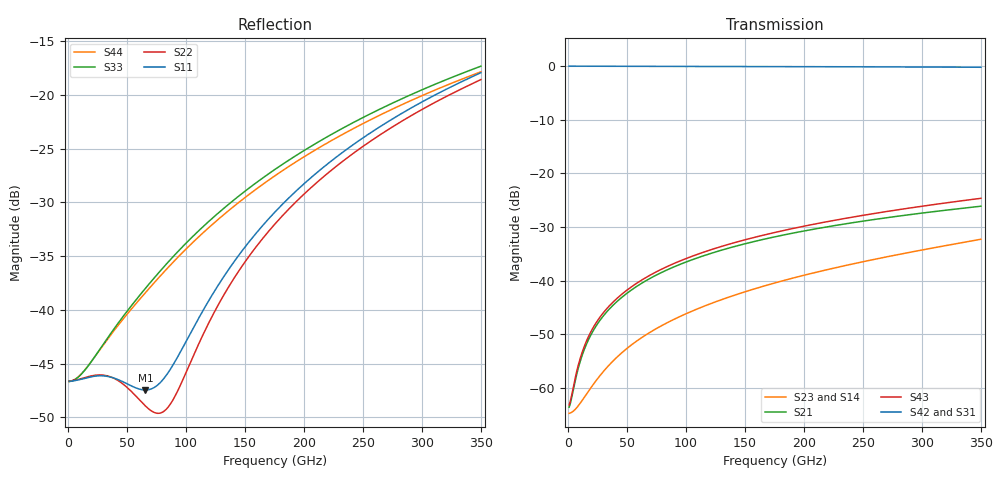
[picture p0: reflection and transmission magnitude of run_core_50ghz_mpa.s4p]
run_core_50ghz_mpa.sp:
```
* EQUIVALENT CIRCUIT FOR VECTOR FITTED S-MATRIX
* Created using scikit-rf vectorFitting.py
*
.SUBCKT s_equivalent_0 p1 p2 p3 p4
*
* Port network for port 1
V1 p1 s1 0
R1 s1 0 50.0
Gd1_1 0 s1 p1 0 2.893139271665703e-06
Fd1_1 0 s1 V1 0.00014465696358328516
Gr1_1_1 0 s1 x1_a1 0 4912147948453.049
Gr2_re_1_1 0 s1 x2_re_a1 0 -1319268556079.9465
Gr2_im_1_1 0 s1 x2_im_a1 0 1735174622789.5796
Gr3_1_1 0 s1 x3_a1 0 -80979426.93577664
Gr4_1_1 0 s1 x4_a1 0 -3817759930.7041607
Gd1_2 0 s1 p2 0 -8.407909559144355e-07
Fd1_2 0 s1 V2 -4.2039547795721777e-05
Gr1_1_2 0 s1 x1_a2 0 -1207829434525.9895
Gr2_re_1_2 0 s1 x2_re_a2 0 382577355417.01276
Gr2_im_1_2 0 s1 x2_im_a2 0 -388533785357.56036
Gr3_1_2 0 s1 x3_a2 0 104571502.07414089
Gr4_1_2 0 s1 x4_a2 0 -3867803750.0574265
Gd1_3 0 s1 p3 0 -1.665917931625849e-06
Fd1_3 0 s1 V3 -8.329589658129245e-05
Gr1_1_3 0 s1 x1_a3 0 1436697289427.5513
Gr2_re_1_3 0 s1 x2_re_a3 0 -1051013779449.3003
Gr2_im_1_3 0 s1 x2_im_a3 0 -1420073398137.625
Gr3_1_3 0 s1 x3_a3 0 147369695.643702
Gr4_1_3 0 s1 x4_a3 0 2337796707.3133445
Gd1_4 0 s1 p4 0 3.818220753214489e-06
Fd1_4 0 s1 V4 0.0001909110376607245
Gr1_1_4 0 s1 x1_a4 0 -597334113507.8119
Gr2_re_1_4 0 s1 x2_re_a4 0 216495732485.25082
Gr2_im_1_4 0 s1 x2_im_a4 0 -143460916711.4927
Gr3_1_4 0 s1 x3_a4 0 -58188130.45721889
Gr4_1_4 0 s1 x4_a4 0 2798174572.1720953
*
* State networks driven by port 1
Cx1_a1 x1_a1 0 1.0
Gx1_a1 0 x1_a1 p1 0 0.07071067811865475
Fx1_a1 0 x1_a1 V1 3.5355339059327378
Rp1_a1 0 x1_a1 1.4249470243021733e-13
Cx2_re_a1 x2_re_a1 0 1.0
Gx2_re_a1 0 x2_re_a1 p1 0 0.1414213562373095
Fx2_re_a1 0 x2_re_a1 V1 7.0710678118654755
Rp2_re_re_a1 0 x2_re_a1 2.2370881216791236e-13
Gp2_re_im_a1 0 x2_re_a1 x2_im_a1 0 4303319264264.5474
Cx2_im_a1 x2_im_a1 0 1.0
Gp2_im_re_a1 0 x2_im_a1 x2_re_a1 0 -4303319264264.5474
Rp2_im_im_a1 0 x2_im_a1 2.2370881216791236e-13
Cx3_a1 x3_a1 0 1.0
Gx3_a1 0 x3_a1 p1 0 0.07071067811865475
Fx3_a1 0 x3_a1 V1 3.5355339059327378
Rp3_a1 0 x3_a1 5.911834241884773e-12
Cx4_a1 x4_a1 0 1.0
Gx4_a1 0 x4_a1 p1 0 0.07071067811865475
Fx4_a1 0 x4_a1 V1 3.5355339059327378
Rp4_a1 0 x4_a1 1.036388375239062e-12
*
* Port network for port 2
V2 p2 s2 0
R2 s2 0 50.0
Gd2_1 0 s2 p1 0 -8.576444797045295e-07
Fd2_1 0 s2 V1 -4.288222398522648e-05
Gr1_2_1 0 s2 x1_a1 0 -1206718015240.3354
Gr2_re_2_1 0 s2 x2_re_a1 0 382133257433.7156
Gr2_im_2_1 0 s2 x2_im_a1 0 -388334016128.95905
Gr3_2_1 0 s2 x3_a1 0 105037000.86241357
Gr4_2_1 0 s2 x4_a1 0 -3880337681.913899
Gd2_2 0 s2 p2 0 2.586091448722339e-06
Fd2_2 0 s2 V2 0.00012930457243611696
Gr1_2_2 0 s2 x1_a2 0 4626162453731.324
Gr2_re_2_2 0 s2 x2_re_a2 0 -1236993496269.2827
Gr2_im_2_2 0 s2 x2_im_a2 0 1636549904038.3657
Gr3_2_2 0 s2 x3_a2 0 -64448709.071113326
Gr4_2_2 0 s2 x4_a2 0 -4291322565.3029203
Gd2_3 0 s2 p3 0 3.824887318505505e-06
Fd2_3 0 s2 V3 0.00019124436592527527
Gr1_2_3 0 s2 x1_a3 0 -596016802174.4718
Gr2_re_2_3 0 s2 x2_re_a3 0 216869254813.08093
Gr2_im_2_3 0 s2 x2_im_a3 0 -142269732663.1156
Gr3_2_3 0 s2 x3_a3 0 -58384527.29972925
Gr4_2_3 0 s2 x4_a3 0 2791616187.8872237
Gd2_4 0 s2 p4 0 -1.2022001343980904e-06
Fd2_4 0 s2 V4 -6.0110006719904525e-05
Gr1_2_4 0 s2 x1_a4 0 1413312421906.588
Gr2_re_2_4 0 s2 x2_re_a4 0 -1042922876967.3018
Gr2_im_2_4 0 s2 x2_im_a4 0 -1425676608052.2537
Gr3_2_4 0 s2 x3_a4 0 143902682.35342407
Gr4_2_4 0 s2 x4_a4 0 2533655932.350976
*
* State networks driven by port 2
Cx1_a2 x1_a2 0 1.0
Gx1_a2 0 x1_a2 p2 0 0.07071067811865475
Fx1_a2 0 x1_a2 V2 3.5355339059327378
Rp1_a2 0 x1_a2 1.4249470243021733e-13
Cx2_re_a2 x2_re_a2 0 1.0
Gx2_re_a2 0 x2_re_a2 p2 0 0.1414213562373095
Fx2_re_a2 0 x2_re_a2 V2 7.0710678118654755
Rp2_re_re_a2 0 x2_re_a2 2.2370881216791236e-13
Gp2_re_im_a2 0 x2_re_a2 x2_im_a2 0 4303319264264.5474
Cx2_im_a2 x2_im_a2 0 1.0
Gp2_im_re_a2 0 x2_im_a2 x2_re_a2 0 -4303319264264.5474
Rp2_im_im_a2 0 x2_im_a2 2.2370881216791236e-13
Cx3_a2 x3_a2 0 1.0
Gx3_a2 0 x3_a2 p2 0 0.07071067811865475
Fx3_a2 0 x3_a2 V2 3.5355339059327378
Rp3_a2 0 x3_a2 5.911834241884773e-12
Cx4_a2 x4_a2 0 1.0
Gx4_a2 0 x4_a2 p2 0 0.07071067811865475
Fx4_a2 0 x4_a2 V2 3.5355339059327378
Rp4_a2 0 x4_a2 1.036388375239062e-12
*
* Port network for port 3
V3 p3 s3 0
R3 s3 0 50.0
Gd3_1 0 s3 p1 0 -2.2193716536045294e-06
Fd3_1 0 s3 V1 -0.00011096858268022648
Gr1_3_1 0 s3 x1_a1 0 1553540072069.103
Gr2_re_3_1 0 s3 x2_re_a1 0 -1100065293813.306
Gr2_im_3_1 0 s3 x2_im_a1 0 -1399249300341.87
Gr3_3_1 0 s3 x3_a1 0 167276704.46165192
Gr4_3_1 0 s3 x4_a1 0 1657557169.4011416
Gd3_2 0 s3 p2 0 3.922169743639009e-06
Fd3_2 0 s3 V2 0.00019610848718195045
Gr1_3_2 0 s3 x1_a2 0 -563000266004.7948
Gr2_re_3_2 0 s3 x2_re_a2 0 202310426727.93924
Gr2_im_3_2 0 s3 x2_im_a2 0 -136086004830.6602
Gr3_3_2 0 s3 x3_a2 0 -56671503.574542865
Gr4_3_2 0 s3 x4_a2 0 2835089956.5188394
Gd3_3 0 s3 p3 0 1.935546855379687e-06
Fd3_3 0 s3 V3 9.677734276898435e-05
Gr1_3_3 0 s3 x1_a3 0 -3516392794239.1475
Gr2_re_3_3 0 s3 x2_re_a3 0 761895075751.6957
Gr2_im_3_3 0 s3 x2_im_a3 0 -1474122464188.0789
Gr3_3_3 0 s3 x3_a3 0 -119722457.44307657
Gr4_3_3 0 s3 x4_a3 0 -3276995993.060734
Gd3_4 0 s3 p4 0 -4.5248549362406604e-07
Fd3_4 0 s3 V4 -2.2624274681203302e-05
Gr1_3_4 0 s3 x1_a4 0 752580231423.9846
Gr2_re_3_4 0 s3 x2_re_a4 0 -63871572220.253105
Gr2_im_3_4 0 s3 x2_im_a4 0 405807497842.1717
Gr3_3_4 0 s3 x3_a4 0 31879208.148758672
Gr4_3_4 0 s3 x4_a4 0 -1621637280.0329769
*
* State networks driven by port 3
Cx1_a3 x1_a3 0 1.0
Gx1_a3 0 x1_a3 p3 0 0.07071067811865475
Fx1_a3 0 x1_a3 V3 3.5355339059327378
Rp1_a3 0 x1_a3 1.4249470243021733e-13
Cx2_re_a3 x2_re_a3 0 1.0
Gx2_re_a3 0 x2_re_a3 p3 0 0.1414213562373095
Fx2_re_a3 0 x2_re_a3 V3 7.0710678118654755
Rp2_re_re_a3 0 x2_re_a3 2.2370881216791236e-13
Gp2_re_im_a3 0 x2_re_a3 x2_im_a3 0 4303319264264.5474
Cx2_im_a3 x2_im_a3 0 1.0
Gp2_im_re_a3 0 x2_im_a3 x2_re_a3 0 -4303319264264.5474
Rp2_im_im_a3 0 x2_im_a3 2.2370881216791236e-13
Cx3_a3 x3_a3 0 1.0
Gx3_a3 0 x3_a3 p3 0 0.07071067811865475
Fx3_a3 0 x3_a3 V3 3.5355339059327378
Rp3_a3 0 x3_a3 5.911834241884773e-12
Cx4_a3 x4_a3 0 1.0
Gx4_a3 0 x4_a3 p3 0 0.07071067811865475
Fx4_a3 0 x4_a3 V3 3.5355339059327378
Rp4_a3 0 x4_a3 1.036388375239062e-12
*
* Port network for port 4
V4 p4 s4 0
R4 s4 0 50.0
Gd4_1 0 s4 p1 0 3.9136053052706924e-06
Fd4_1 0 s4 V1 0.00019568026526353463
Gr1_4_1 0 s4 x1_a1 0 -574644146819.5114
Gr2_re_4_1 0 s4 x2_re_a1 0 205952059016.52536
Gr2_im_4_1 0 s4 x2_im_a1 0 -139696145060.85263
Gr3_4_1 0 s4 x3_a1 0 -56844402.83707588
Gr4_4_1 0 s4 x4_a1 0 2842833117.266906
Gd4_2 0 s4 p2 0 -1.3063202438656778e-06
Fd4_2 0 s4 V2 -6.531601219328388e-05
Gr1_4_2 0 s4 x1_a2 0 1438174192965.6538
Gr2_re_4_2 0 s4 x2_re_a2 0 -1061467799029.6914
Gr2_im_4_2 0 s4 x2_im_a2 0 -1431105778180.4731
Gr3_4_2 0 s4 x3_a2 0 157695766.38719633
Gr4_4_2 0 s4 x4_a2 0 2031244531.4579895
Gd4_3 0 s4 p3 0 -4.4941982827617416e-07
Fd4_3 0 s4 V3 -2.2470991413808708e-05
Gr1_4_3 0 s4 x1_a3 0 762460109755.1884
Gr2_re_4_3 0 s4 x2_re_a3 0 -66345820698.921326
Gr2_im_4_3 0 s4 x2_im_a3 0 409498495329.96716
Gr3_4_3 0 s4 x3_a3 0 32645750.97022205
Gr4_4_3 0 s4 x4_a3 0 -1633618425.3892248
Gd4_4 0 s4 p4 0 2.1516949479983076e-06
Fd4_4 0 s4 V4 0.00010758474739991539
Gr1_4_4 0 s4 x1_a4 0 -3347491311339.526
Gr2_re_4_4 0 s4 x2_re_a4 0 740210405252.829
Gr2_im_4_4 0 s4 x2_im_a4 0 -1391048463402.3
Gr3_4_4 0 s4 x3_a4 0 -100064355.32910477
Gr4_4_4 0 s4 x4_a4 0 -3835278364.015358
*
* State networks driven by port 4
Cx1_a4 x1_a4 0 1.0
Gx1_a4 0 x1_a4 p4 0 0.07071067811865475
Fx1_a4 0 x1_a4 V4 3.5355339059327378
Rp1_a4 0 x1_a4 1.4249470243021733e-13
Cx2_re_a4 x2_re_a4 0 1.0
Gx2_re_a4 0 x2_re_a4 p4 0 0.1414213562373095
Fx2_re_a4 0 x2_re_a4 V4 7.0710678118654755
Rp2_re_re_a4 0 x2_re_a4 2.2370881216791236e-13
Gp2_re_im_a4 0 x2_re_a4 x2_im_a4 0 4303319264264.5474
Cx2_im_a4 x2_im_a4 0 1.0
Gp2_im_re_a4 0 x2_im_a4 x2_re_a4 0 -4303319264264.5474
Rp2_im_im_a4 0 x2_im_a4 2.2370881216791236e-13
Cx3_a4 x3_a4 0 1.0
Gx3_a4 0 x3_a4 p4 0 0.07071067811865475
Fx3_a4 0 x3_a4 V4 3.5355339059327378
Rp3_a4 0 x3_a4 5.911834241884773e-12
Cx4_a4 x4_a4 0 1.0
Gx4_a4 0 x4_a4 p4 0 0.07071067811865475
Fx4_a4 0 x4_a4 V4 3.5355339059327378
Rp4_a4 0 x4_a4 1.036388375239062e-12
.ENDS s_equivalent_0
```
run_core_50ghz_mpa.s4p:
#  Hz  S  RI  R  50
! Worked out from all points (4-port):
!   400 points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, 875 MHz to 350 GHz, reference 50 ohm
!   strongest paths, dB at 875 MHz, 88.38 GHz, 175.9 GHz, 263.4 GHz, 350 GHz:
!     S42: 0.0, -0.1, -0.1, -0.2, -0.2
!     S31: 0.0, -0.1, -0.1, -0.2, -0.3
!     S43: -63.2, -36.9, -31.0, -27.4, -24.7
!     S21: -63.6, -37.6, -31.8, -28.5, -26.1
!     S23: -64.7, -47.4, -40.4, -35.9, -32.3
!     S14: -64.7, -47.5, -40.5, -36.0, -32.4
!   lowest |S11| = -47.4 dB at 65.62 GHz (marker M1), VSWR 1.01, Z = 50.2 - j0.377 ohm
!   |S11| at or under -10 dB: start of sweep to end of sweep
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8.75e8  0.00466 -1.41e-06  0.000647 0.000137  0.9949 -0.00209  -0.00058 3.41e-05
        0.000647 0.000137  0.00468 1.53e-05  -0.000579 3.5e-05  0.9948 -0.0021
        0.9949 -0.00211  -0.000585 2.65e-05  0.00464 1.05e-06  0.000677 0.000149
        -0.000584 2.72e-05  0.9948 -0.00211  0.000678 0.000149  0.00465 2.72e-05
6.5625e10  0.00197 -0.00376  0.00377 0.00918  0.9799 -0.1506  -0.000428 0.00302
           0.00377 0.00917  0.00248 -0.00257  -0.000417 0.00308  0.9798 -0.1506
           0.9797 -0.1517  -0.00056 0.00255  0.0116 -0.005  0.00135 0.0105
           -0.000542 0.0026  0.9798 -0.1512  0.00134 0.0105  0.0116 -0.00305
3.5e11  -0.1077 0.0667  0.0493 -0.00182  0.6703 -0.7015  0.0204 0.0127
        0.0493 -0.00186  -0.0987 0.0639  0.0205 0.013  0.6708 -0.7011
        0.6649 -0.7065  0.0184 0.0115  0.0653 -0.1191  0.0127 0.0569
        0.0188 0.0115  0.6686 -0.7054  0.0125 0.0571  0.0667 -0.109
